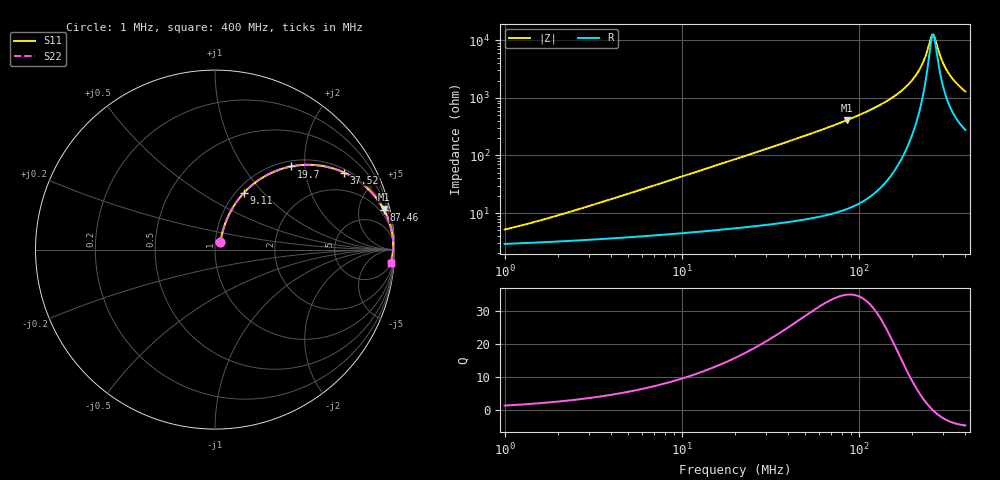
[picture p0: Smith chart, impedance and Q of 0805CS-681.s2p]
# MHz S MA R 50
!Freq  MagS11  AngS11  MagS21  AngS21  MagS12  AngS12  MagS22  AngS22
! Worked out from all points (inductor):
!   801 points, 1 MHz to 400 MHz, reference 50 ohm
!   read as one part in series: L = 680 nH near 2.314 MHz
!   highest Q = 34.9 at 86.16 MHz (marker M1), where L = 762 nH
!   self-resonance near 261 MHz
!   S11 on the Smith chart (normalised r, x): 1 MHz: 1.06, +0.09; 9.11 MHz: 1.09, +0.78; 19.7 MHz: 1.11, +1.69; 37.52 MHz: 1.14, +3.27; 87.46 MHz: 1.24, +8.41; 400 MHz: 7, -25
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1  0.05021 53.3  0.9708 -2.4  0.9708 -2.4  0.05021 53.3
2.728004  0.1167 67.4  0.9612 -6.4  0.9612 -6.4  0.1167 67.4
7.38648  0.2927 65.7  0.9189 -16.9  0.9189 -16.9  0.2927 65.7
9.109816  0.352 63.1  0.8977 -20.5  0.8977 -20.5  0.352 63.1
13.24764  0.4778 56.7  0.839 -28.4  0.839 -28.4  0.4778 56.7
19.70266  0.6275 47.6  0.7397 -38.8  0.7397 -38.8  0.6275 47.6
20  0.6331 47.2  0.7351 -39.2  0.7351 -39.2  0.6331 47.2
37.51857  0.8382 30.8  0.5117 -56.9  0.5117 -56.9  0.8382 30.8
54.56009  0.9145 22.0  0.3751 -66.1  0.3751 -66.1  0.9145 22.0
86.15532  0.9656 13.5  0.2339 -74.8  0.2339 -74.8  0.9656 13.5
87.45553  0.9667 13.3  0.2299 -75.1  0.2299 -75.1  0.9667 13.3
147.7296  0.9896 6.1  0.1071 -81.4  0.1071 -81.4  0.9896 6.1
180.8369  0.9927 3.9  0.06768 -81.9  0.06768 -81.9  0.9927 3.9
210.0577  0.9934 2.3  0.0403 -79.5  0.0403 -79.5  0.9934 2.3
231.5379  0.9932 1.3  0.02337 -72.5  0.02337 -72.5  0.9932 1.3
255.2146  0.9925 0.3  0.009163 -34.6  0.009163 -34.6  0.9925 0.3
261.0136  0.9922 0.1  0.007884 -9.4  0.007884 -9.4  0.9922 0.1
268.9512  0.9918 -0.2  0.00906 25.6  0.00906 25.6  0.9918 -0.2
292.0464  0.9905 -1.1  0.02062 62.0  0.02062 62.0  0.9905 -1.1
317.1248  0.9887 -1.9  0.03456 70.0  0.03456 70.0  0.9887 -1.9
354.8287  0.9855 -3.0  0.05434 73.0  0.05434 73.0  0.9855 -3.0
400  0.9809 -4.3  0.07606 73.3  0.07606 73.3  0.9809 -4.3
